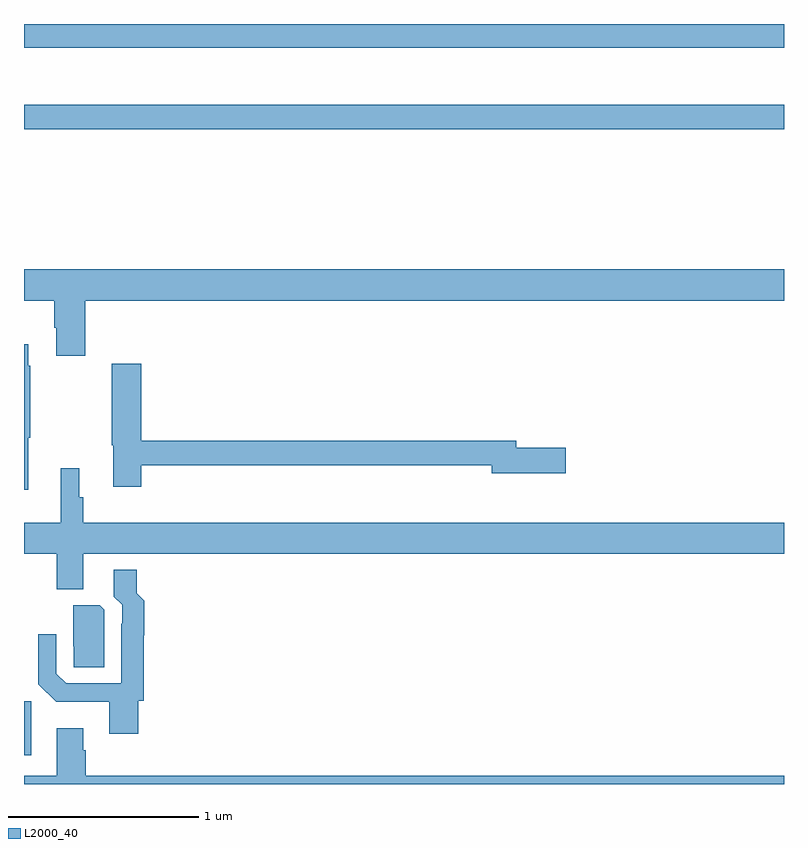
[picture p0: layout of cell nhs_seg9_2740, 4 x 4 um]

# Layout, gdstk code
import gdstk
lib = gdstk.Library(unit=1e-6, precision=1e-09)
def R(c, l, rs):  # rectangles x0, y0, x1, y1
    for r in rs: c.add(gdstk.rectangle(r[:2], r[2:], *l))
def P(c, l, *ps):  # polygons
    for p in ps: c.add(gdstk.Polygon(p, *l))
L2000_40 = (2000, 40)

nhs_seg9_2740 = lib.new_cell('nhs_seg9_2740')
R(nhs_seg9_2740, L2000_40, [(267,1236.651,267.037,1236.936), (267,1239.946,271,1240.075), (267,1240.376,271,1240.5)])
P(nhs_seg9_2740, L2000_40, [(267.323,1239.044),(271,1239.044),(271,1239.208),(267,1239.208),(267,1239.044),(267.158,1239.044),(267.158,1238.902),(267.17,1238.902),(267.17,1238.754),(267.323,1238.754)],
  [(267.022,1238.322),(267.034,1238.322),(267.034,1238.702),(267.022,1238.702),(267.022,1238.815),(267,1238.815),(267,1238.048),(267.022,1238.048)],
  [(267.617,1238.178),(269.462,1238.178),(269.462,1238.135),(269.851,1238.135),(269.851,1238.27),(269.59,1238.27),(269.59,1238.306),(267.617,1238.306),(267.617,1238.713),(267.463,1238.713),(267.463,1238.283),(267.47,1238.283),(267.47,1238.064),(267.617,1238.064)],
  [(267.313,1237.712),(271,1237.712),(271,1237.876),(267.311,1237.876),(267.311,1238.01),(267.292,1238.01),(267.292,1238.161),(267.193,1238.161),(267.193,1237.876),(267,1237.876),(267,1237.712),(267.173,1237.712),(267.173,1237.525),(267.313,1237.525)],
  [(267.602,1236.939),(267.629,1236.939),(267.629,1237.282),(267.632,1237.282),(267.632,1237.464),(267.593,1237.503),(267.593,1237.627),(267.473,1237.627),(267.473,1237.486),(267.516,1237.443),(267.516,1237.343),(267.513,1237.343),(267.513,1237.029),(267.222,1237.029),(267.171,1237.08),(267.171,1237.288),(267.075,1237.288),(267.075,1237.026),(267.169,1236.932),(267.449,1236.932),(267.449,1236.765),(267.602,1236.765)],
  [(267.423,1237.416),(267.399,1237.44),(267.26,1237.44),(267.26,1237.225),(267.261,1237.225),(267.261,1237.114),(267.423,1237.114)],
  [(271,1236.544),(267.326,1236.544),(267.326,1236.677),(267.313,1236.677),(267.313,1236.793),(267.173,1236.793),(267.173,1236.544),(267,1236.544),(267,1236.5),(271,1236.5)])

lib.write_gds('nhs_seg9_2740.gds')
